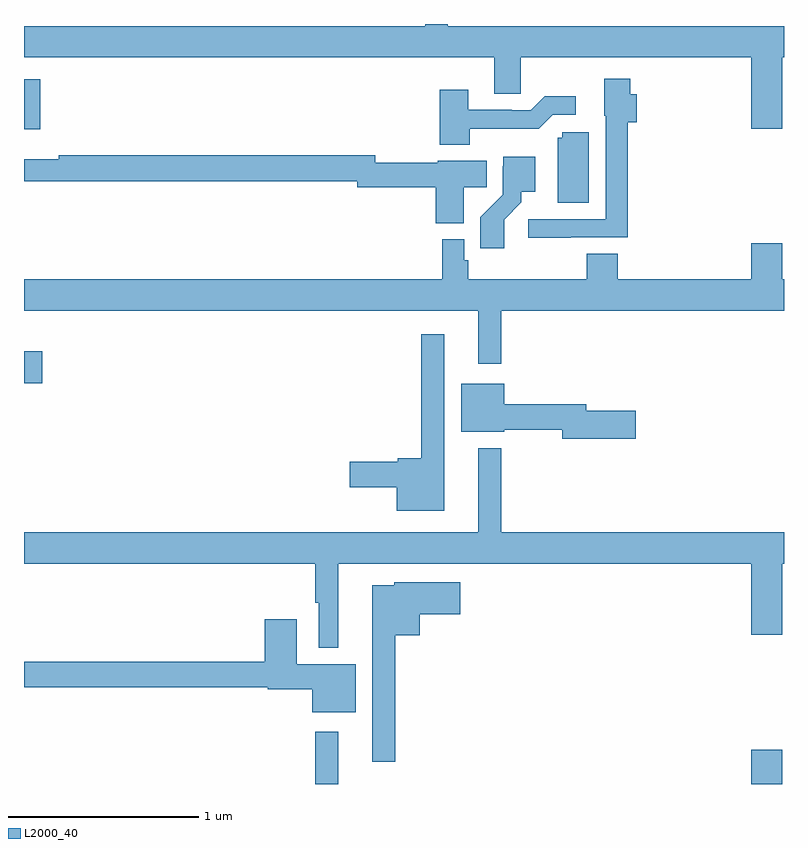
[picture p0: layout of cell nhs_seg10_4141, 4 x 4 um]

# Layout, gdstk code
import gdstk
lib = gdstk.Library(unit=1e-6, precision=1e-09)
def R(c, l, rs):  # rectangles x0, y0, x1, y1
    for r in rs: c.add(gdstk.rectangle(r[:2], r[2:], *l))
def P(c, l, *ps):  # polygons
    for p in ps: c.add(gdstk.Polygon(p, *l))
L2000_40 = (2000, 40)

nhs_seg10_4141 = lib.new_cell('nhs_seg10_4141')
R(nhs_seg10_4141, L2000_40, [(342.534,1288.5,342.655,1288.774), (344.828,1288.5,344.992,1288.681), (341,1290.608,341.095,1290.778), (341,1291.946,341.086,1292.209)])
P(nhs_seg10_4141, L2000_40, [(344.992,1292.324),(345,1292.324),(345,1292.488),(343.229,1292.488),(343.229,1292.5),(343.112,1292.5),(343.112,1292.488),(341,1292.488),(341,1292.324),(343.475,1292.324),(343.475,1292.134),(343.614,1292.134),(343.614,1292.324),(344.828,1292.324),(344.828,1291.95),(344.992,1291.95)],
  [(343.877,1291.377),(344.177,1291.377),(344.177,1291.982),(344.225,1291.982),(344.225,1292.13),(344.19,1292.13),(344.19,1292.212),(344.054,1292.212),(344.054,1292.016),(344.061,1292.016),(344.061,1291.473),(343.653,1291.473),(343.653,1291.375),(343.877,1291.375)],
  [(343.347,1291.95),(343.709,1291.95),(343.782,1292.022),(343.903,1292.022),(343.903,1292.119),(343.741,1292.119),(343.668,1292.046),(343.568,1292.046),(343.568,1292.049),(343.339,1292.049),(343.339,1292.155),(343.187,1292.155),(343.187,1291.865),(343.347,1291.865)],
  [(343.972,1291.929),(343.833,1291.929),(343.833,1291.902),(343.808,1291.902),(343.808,1291.558),(343.972,1291.558)],
  [(343.315,1291.642),(343.436,1291.642),(343.436,1291.78),(343.178,1291.78),(343.178,1291.769),(342.849,1291.769),(342.849,1291.808),(341.182,1291.808),(341.182,1291.789),(341,1291.789),(341,1291.672),(342.753,1291.672),(342.753,1291.641),(343.166,1291.641),(343.166,1291.451),(343.315,1291.451)],
  [(343.528,1291.471),(343.618,1291.561),(343.618,1291.616),(343.69,1291.616),(343.69,1291.801),(343.523,1291.801),(343.523,1291.752),(343.521,1291.752),(343.521,1291.601),(343.402,1291.482),(343.402,1291.32),(343.528,1291.32)],
  [(343.337,1291.257),(343.317,1291.257),(343.317,1291.366),(343.201,1291.366),(343.201,1291.156),(341,1291.156),(341,1290.992),(343.391,1290.992),(343.391,1290.711),(343.513,1290.711),(343.513,1290.992),(345,1290.992),(345,1291.156),(344.992,1291.156),(344.992,1291.345),(344.828,1291.345),(344.828,1291.156),(344.126,1291.156),(344.126,1291.292),(343.961,1291.292),(343.961,1291.156),(343.337,1291.156)],
  [(343.213,1290.868),(343.092,1290.868),(343.092,1290.215),(342.966,1290.215),(342.966,1290.197),(342.714,1290.197),(342.714,1290.062),(342.962,1290.062),(342.962,1289.939),(343.213,1289.939)],
  [(344.221,1290.464),(343.96,1290.464),(343.96,1290.5),(343.528,1290.5),(343.528,1290.607),(343.301,1290.607),(343.301,1290.353),(343.528,1290.353),(343.528,1290.364),(343.832,1290.364),(343.832,1290.317),(344.221,1290.317)],
  [(342.655,1289.66),(344.828,1289.66),(344.828,1289.286),(344.992,1289.286),(344.992,1289.66),(345,1289.66),(345,1289.824),(343.513,1289.824),(343.513,1290.268),(343.391,1290.268),(343.391,1289.824),(341,1289.824),(341,1289.66),(342.534,1289.66),(342.534,1289.455),(342.551,1289.455),(342.551,1289.216),(342.655,1289.216)],
  [(342.955,1289.282),(343.084,1289.282),(343.084,1289.393),(343.297,1289.393),(343.297,1289.563),(342.948,1289.563),(342.948,1289.545),(342.833,1289.545),(342.833,1288.617),(342.955,1288.617)],
  [(342.745,1289.131),(342.436,1289.131),(342.436,1289.368),(342.266,1289.368),(342.266,1289.144),(341,1289.144),(341,1289.008),(342.282,1289.008),(342.282,1289),(342.518,1289),(342.518,1288.877),(342.745,1288.877)])

lib.write_gds('nhs_seg10_4141.gds')
